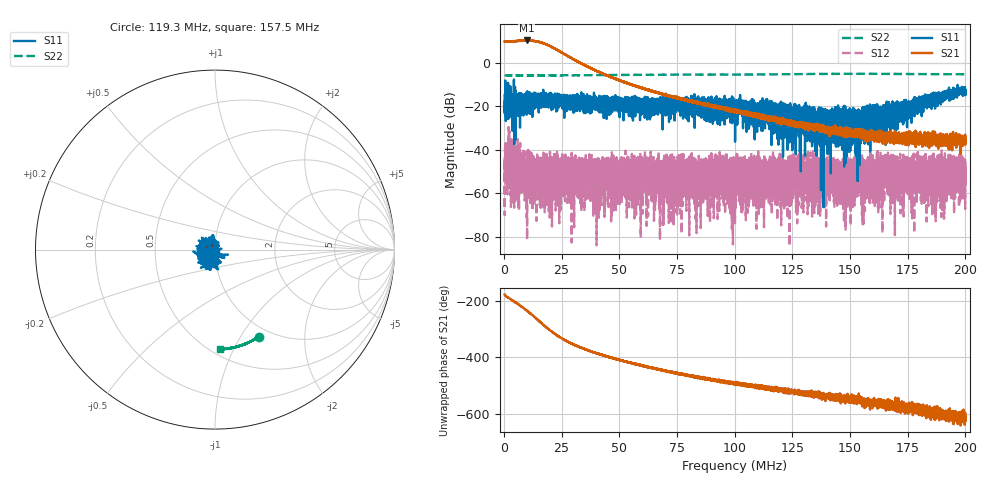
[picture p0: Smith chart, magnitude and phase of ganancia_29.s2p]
# Hz S DB R 50
! CMT, M5065, 19127446, 24.2.4/2
! Date: 11/8/2024 4:01:55 PM
! Data: Format (Calibration Info)
! Freq	S11:dB/Ang(F2)	S21:dB/Ang(F2)	S12:dB/Ang(F2)	S22:dB/Ang(F2)
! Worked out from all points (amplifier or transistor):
!   9000 points, 300 kHz to 200 MHz, reference 50 ohm
!   highest |S21| = 10.2 dB at 9.82 MHz (marker M1)
!   |S21| within 3 dB of that: start of sweep to 20.75 MHz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
!   unconditionally stable (mu >= 1): start of sweep to end of sweep
!   at 33.59 MHz: K = 83.34, MAG = 1.1 dB, |S12| = -47.0 dB
!   at 100.2 MHz: K = 845.04, MAG = -20.4 dB, |S12| = -45.7 dB
!   at 200 MHz: K = 3009.83, MAG = -33.5 dB, |S12| = -43.9 dB
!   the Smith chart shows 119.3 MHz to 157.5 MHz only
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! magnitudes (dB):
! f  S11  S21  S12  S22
! 300 kHz  -20.8  9.8  -49.0  -5.9
! 1.587 MHz  -24.2  9.8  -42.4  -5.8
! 9.82 MHz  -17.8  10.2  -52.5  -5.8
! 18.32 MHz  -16.9  8.4  -45.5  -5.8
! 23.49 MHz  -16.5  5.6  -52.3  -5.8
! 33.59 MHz  -16.9  -0.4  -47.0  -5.7
! 66.87 MHz  -18.9  -13.7  -55.5  -5.5
! 82.05 MHz  -20.8  -17.8  -48.6  -5.5
! 85.58 MHz  -25.3  -18.9  -60.2  -5.4
! 93.64 MHz  -28.6  -21.0  -52.3  -5.4
! 100.2 MHz  -26.5  -21.8  -45.7  -5.4
! 113.2 MHz  -19.9  -25.2  -51.7  -5.4
! 133.4 MHz  -23.2  -28.5  -48.2  -5.2
! 139.9 MHz  -27.1  -31.1  -50.0  -5.1
! 142.2 MHz  -30.7  -30.7  -54.8  -5.1
! 147.1 MHz  -29.8  -31.1  -44.6  -5.1
! 154 MHz  -47.1  -32.9  -47.0  -5.1
! 156.5 MHz  -26.9  -31.8  -48.3  -5.1
! 166.7 MHz  -25.4  -33.5  -45.8  -5.1
! 190.1 MHz  -13.4  -35.6  -55.5  -5.2
! 199 MHz  -12.9  -35.1  -43.9  -5.3
! 200 MHz  -12.3  -35.3  -43.9  -5.3
